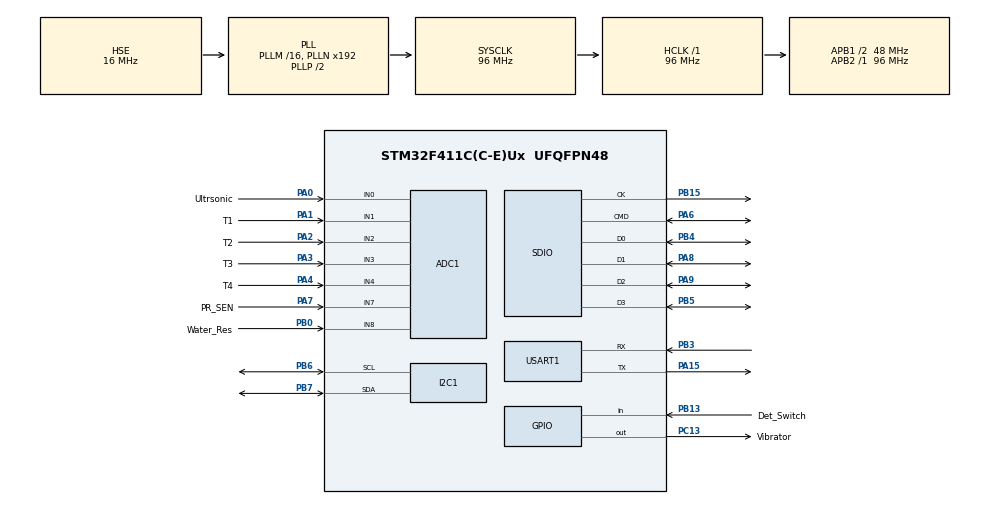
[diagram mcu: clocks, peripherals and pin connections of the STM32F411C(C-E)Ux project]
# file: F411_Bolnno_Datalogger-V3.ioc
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ADC1.Channel-0\#ChannelRegularConversion=ADC_CHANNEL_0
ADC1.NbrOfConversionFlag=1
ADC1.Rank-0\#ChannelRegularConversion=1
ADC1.SamplingTime-0\#ChannelRegularConversion=ADC_SAMPLETIME_3CYCLES
ADC1.master=1
FATFS.BSP.number=1
FATFS._MAX_SS=4096
FATFS._USE_LFN=1
FATFS0.BSP.STBoard=false
FATFS0.BSP.api=Unknown
FATFS0.BSP.instance=PB13
FATFS0.BSP.ip=GPIO
FATFS0.BSP.mode=Input
FATFS0.BSP.name=Detect_SDIO
FATFS0.BSP.solution=PB13
Mcu.Family=STM32F4
Mcu.Name=STM32F411C(C-E)Ux
Mcu.Package=UFQFPN48
NVIC.PriorityGroup=NVIC_PRIORITYGROUP_4
NVIC.TIM3_IRQn=true\:0\:0\:false\:false\:true\:true\:true\:true
NVIC.TIM4_IRQn=true\:0\:0\:false\:false\:true\:true\:true\:true
PA0-WKUP.GPIO_Label=Ultrsonic
PA0-WKUP.Signal=ADCx_IN0
PA1.GPIO_Label=T1
PA1.Signal=ADCx_IN1
PA13.Mode=Serial_Wire
PA13.Signal=SYS_JTMS-SWDIO
PA14.Mode=Serial_Wire
PA14.Signal=SYS_JTCK-SWCLK
PA15.Mode=Asynchronous
PA15.Signal=USART1_TX
PA2.GPIO_Label=T2
PA2.Signal=ADCx_IN2
PA3.GPIO_Label=T3
PA3.Signal=ADCx_IN3
PA4.GPIO_Label=T4
PA4.Signal=ADCx_IN4
PA6.Mode=SD_4_bits_Wide_bus
PA6.Signal=SDIO_CMD
PA7.GPIO_Label=PR_SEN
PA7.Signal=ADCx_IN7
PA8.Mode=SD_4_bits_Wide_bus
PA8.Signal=SDIO_D1
PA9.Mode=SD_4_bits_Wide_bus
PA9.Signal=SDIO_D2
PB0.GPIO_Label=Water_Res
PB0.Signal=ADCx_IN8
PB13.GPIO_Label=Det_Switch
PB13.Signal=GPIO_Input
PB15.Mode=SD_4_bits_Wide_bus
PB15.Signal=SDIO_CK
PB3.Mode=Asynchronous
PB3.Signal=USART1_RX
PB4.Mode=SD_4_bits_Wide_bus
PB4.Signal=SDIO_D0
PB5.Mode=SD_4_bits_Wide_bus
PB5.Signal=SDIO_D3
PB6.Mode=I2C
PB6.Signal=I2C1_SCL
PB7.Mode=I2C
PB7.Signal=I2C1_SDA
PC13-ANTI_TAMP.GPIO_Label=Vibrator
PC13-ANTI_TAMP.Signal=GPIO_Output
PH0\ -\ OSC_IN.Mode=HSE-External-Oscillator
PH0\ -\ OSC_IN.Signal=RCC_OSC_IN
PH1\ -\ OSC_OUT.Mode=HSE-External-Oscillator
PH1\ -\ OSC_OUT.Signal=RCC_OSC_OUT
ProjectManager.HeapSize=0x200
ProjectManager.StackSize=0x400
ProjectManager.TargetToolchain=STM32CubeIDE
RCC.48MHZClocksFreq_Value=48000000
RCC.AHBFreq_Value=96000000
RCC.APB1CLKDivider=RCC_HCLK_DIV2
RCC.APB1Freq_Value=48000000
RCC.APB1TimFreq_Value=96000000
RCC.APB2Freq_Value=96000000
RCC.APB2TimFreq_Value=96000000
RCC.CortexFreq_Value=96000000
RCC.HCLKFreq_Value=96000000
RCC.HSE_VALUE=16000000
RCC.HSI_VALUE=16000000
RCC.LSE_VALUE=32768
RCC.PLLSourceVirtual=RCC_PLLSOURCE_HSE
RCC.SYSCLKFreq_VALUE=96000000
RCC.SYSCLKSource=RCC_SYSCLKSOURCE_PLLCLK
RCC.VCOOutputFreq_Value=192000000
SDIO.ClockDiv=4
SH.ADCx_IN0.0=ADC1_IN0,IN0
SH.ADCx_IN1.0=ADC1_IN1,IN1
SH.ADCx_IN2.0=ADC1_IN2,IN2
SH.ADCx_IN3.0=ADC1_IN3,IN3
SH.ADCx_IN4.0=ADC1_IN4,IN4
SH.ADCx_IN7.0=ADC1_IN7,IN7
SH.ADCx_IN8.0=ADC1_IN8,IN8
USART1.VirtualMode=VM_ASYNC
VP_FATFS_VS_SDIO.Mode=SDIO
VP_TIM3_VS_ClockSourceINT.Mode=Internal
VP_TIM4_VS_ClockSourceINT.Mode=Internal
board=custom

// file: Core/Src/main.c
/* USER CODE BEGIN Header */
/**
  ******************************************************************************
  * @file           : main.c
  * @brief          : Main program body
  ******************************************************************************
  * @attention
  *
  * Copyright (c) 2024 STMicroelectronics.
  * All rights reserved.
  *
  * This software is licensed under terms that can be found in the LICENSE file
  * in the root directory of this software component.
  * If no LICENSE file comes with this software, it is provided AS-IS.
  *
  ******************************************************************************
  */
/* USER CODE END Header */
#include "main.h"
#include "fatfs.h"

/* USER CODE BEGIN Includes */
#include <stdio.h>
#include <stdbool.h>
#include "GPIO.h"
#include "SDIO.h"
#include "Timer.h"
#include "I2C.h"
#include "ADC.h"
#include "SD_Card.h"
#include "Accelerometer.h"
/* USER CODE END Includes */

ADC_HandleTypeDef hadc1;

I2C_HandleTypeDef hi2c1;

SD_HandleTypeDef hsd;

TIM_HandleTypeDef htim3;
TIM_HandleTypeDef htim4;

UART_HandleTypeDef huart1;

/* USER CODE BEGIN PV */

bool Sys_Start = 0;
uint8_t Current_Log_File_No = 0;

const int Tot_Sensor = 4;

int* NTC_Temp;
/* USER CODE END PV */

void SystemClock_Config(void);

/* USER CODE BEGIN 0 */
void UART_Printf(const char * fmt, ...);
void MX_USART1_UART_Init(void);
uint8_t File_Number_Create();
uint8_t Num_Sys_Create();
uint8_t HTML_File_Create();
uint8_t Read_Log_Number(uint8_t FileNo);
uint8_t Read_Number_Sys(uint8_t sys_type);
void Create_DataLog_File();
void DATA_LOG();
void Update_Log_Num();
/* USER CODE END 0 */

int main(void)
{

  /* MCU Configuration--------------------------------------------------------*/

  /* Reset of all peripherals, Initializes the Flash interface and the Systick. */
  HAL_Init();

  /* Configure the system clock */
  SystemClock_Config();

  /* Initialize all configured peripherals */
  MX_GPIO_Init();
  MX_ADC1_Init();
  MX_I2C1_Init();
  MX_SDIO_SD_Init();
  MX_TIM3_Init();
  MX_TIM4_Init();
  MX_USART1_UART_Init();
  MX_FATFS_Init();
  /* USER CODE BEGIN 2 */

  /************************Accelerometer_status*****************************/
  bool Acc_Status = 0;
  uint8_t i = 0;
  while(!Acc_Status)
  {
	  Acc_Status = Acc_Init();
	  UART_Printf("Acclerometer Testing time %d\n",i);
	  i++;
	  HAL_Delay(500);
	   if(i>10)
	   {
		   NVIC_SystemReset();
	   }
  }
  UART_Printf("Accelerometer Working \n");
  /************************Accelerometer_status*****************************/

  /************************SD CARD_status*****************************/

  uint8_t sdCardStatus = SD_Card_Test();
   while (sdCardStatus != FR_OK)
   {
     sdCardStatus = SD_Card_Test();
     HAL_Delay(500);
   }

  /************************SD CARD_status*****************************/

   /************************SD CARD_Create Number file.txt*****************************/

 uint8_t F_N_C = File_Number_Create();
  while(F_N_C != FR_OK)
  {
	  F_N_C = File_Number_Create();
   HAL_Delay(500);
  }

   /************************SD CARD_Create Number file.txt*****************************/

   /************************SD CARD_Create Num_sys.txt*****************************/

  uint8_t Num_SYS = Num_Sys_Create();
  while(Num_SYS != FR_OK)
  {
	  Num_SYS = Num_Sys_Create();  //Germany OR USA
   HAL_Delay(500);
  }

   /************************SD CARD_Create Num_sys.txt*****************************/

   /************************SD CARD_Create HTML*****************************/
  uint8_t HTML = HTML_File_Create();
  while (HTML !=FR_OK)
  {
   HTML = HTML_File_Create();
   HAL_Delay(500);
  }

   /************************SD CARD_Create HTML*****************************/

   uint8_t Sys_Type = 0;
   Sys_Type = Read_Number_Sys(Sys_Type);
   (Sys_Type == 1)? UART_Printf("Device Storage Type is GERMANY \n"):UART_Printf("Device Storage Type is USA \n");

   /************************Get Log file Number*****************************/

      Current_Log_File_No =  Read_Log_Number(Current_Log_File_No);
      UART_Printf("Current Log File Number is %d \n",Current_Log_File_No);

   /************************Get Log file Number*****************************/

   /************************SD CARD_Create DataLog*****************************/

   Create_DataLog_File();

   /************************SD CARD_Create DataLog*****************************/

   /************************System_Start*****************************/
   while(!Sys_Start)
   {
   System_Start();
   HAL_Delay(500);
   }
   /************************System_Start*****************************/

  /************************Start_Timer_Interrupt*****************************/

   HAL_TIM_Base_Start_IT(&htim3);
   HAL_TIM_Base_Start_IT(&htim4);

  /************************Start_Timer_Interrupt*****************************/

  /* USER CODE END 2 */

  /* Infinite loop */
  while (1)
  {

  }
}

void SystemClock_Config(void)
{
  RCC_OscInitTypeDef RCC_OscInitStruct = {0};
  RCC_ClkInitTypeDef RCC_ClkInitStruct = {0};

  /** Configure the main internal regulator output voltage
  */
  __HAL_RCC_PWR_CLK_ENABLE();
  __HAL_PWR_VOLTAGESCALING_CONFIG(PWR_REGULATOR_VOLTAGE_SCALE1);

  /** Initializes the RCC Oscillators according to the specified parameters
  * in the RCC_OscInitTypeDef structure.
  */
  RCC_OscInitStruct.OscillatorType = RCC_OSCILLATORTYPE_HSE;
  RCC_OscInitStruct.HSEState = RCC_HSE_ON;
  RCC_OscInitStruct.PLL.PLLState = RCC_PLL_ON;
  RCC_OscInitStruct.PLL.PLLSource = RCC_PLLSOURCE_HSE;
  RCC_OscInitStruct.PLL.PLLM = 16;
  RCC_OscInitStruct.PLL.PLLN = 192;
  RCC_OscInitStruct.PLL.PLLP = RCC_PLLP_DIV2;
  RCC_OscInitStruct.PLL.PLLQ = 4;
  if (HAL_RCC_OscConfig(&RCC_OscInitStruct) != HAL_OK)
  {
    Error_Handler();
  }

  /** Initializes the CPU, AHB and APB buses clocks
  */
  RCC_ClkInitStruct.ClockType = RCC_CLOCKTYPE_HCLK|RCC_CLOCKTYPE_SYSCLK
                              |RCC_CLOCKTYPE_PCLK1|RCC_CLOCKTYPE_PCLK2;
  RCC_ClkInitStruct.SYSCLKSource = RCC_SYSCLKSOURCE_PLLCLK;
  RCC_ClkInitStruct.AHBCLKDivider = RCC_SYSCLK_DIV1;
  RCC_ClkInitStruct.APB1CLKDivider = RCC_HCLK_DIV2;
  RCC_ClkInitStruct.APB2CLKDivider = RCC_HCLK_DIV1;

  if (HAL_RCC_ClockConfig(&RCC_ClkInitStruct, FLASH_LATENCY_3) != HAL_OK)
  {
    Error_Handler();
  }
}

void Error_Handler(void)
{
  __disable_irq();
  while (1)
  {
  }
}
